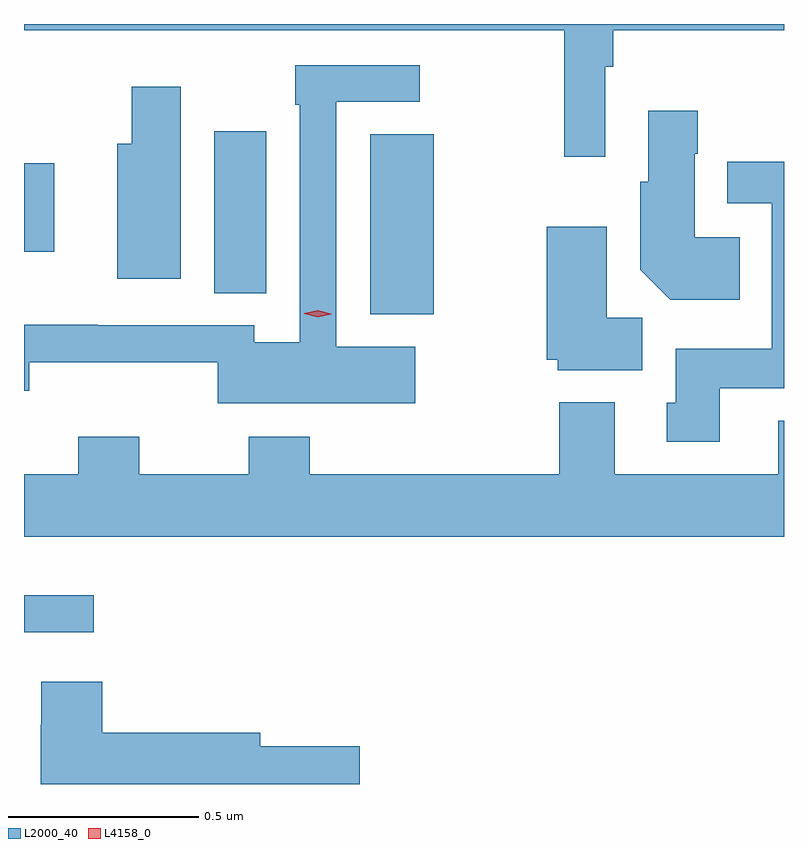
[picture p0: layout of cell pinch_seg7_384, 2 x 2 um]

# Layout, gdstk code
import gdstk
lib = gdstk.Library(unit=1e-6, precision=1e-09)
def R(c, l, rs):  # rectangles x0, y0, x1, y1
    for r in rs: c.add(gdstk.rectangle(r[:2], r[2:], *l))
def P(c, l, *ps):  # polygons
    for p in ps: c.add(gdstk.Polygon(p, *l))
L2000_40 = (2000, 40)
L4158_0 = (4158, 0)

pinch_seg7_384 = lib.new_cell('pinch_seg7_384')
R(pinch_seg7_384, L2000_40, [(397.506,1003.028,397.69,1003.126), (398.417,1003.865,398.584,1004.339), (398.006,1003.921,398.143,1004.347), (397.506,1004.03,397.585,1004.263)])
P(pinch_seg7_384, L2000_40, [(399.036,1004.516),(399.056,1004.516),(399.056,1004.612),(399.506,1004.612),(399.506,1004.629),(397.506,1004.629),(397.506,1004.612),(398.928,1004.612),(398.928,1004.28),(399.036,1004.28)],
  [(398.536,1003.78),(398.328,1003.78),(398.328,1004.424),(398.548,1004.424),(398.548,1004.52),(398.22,1004.52),(398.22,1004.417),(398.232,1004.417),(398.232,1003.792),(398.112,1003.792),(398.112,1003.836),(397.7,1003.836),(397.7,1003.838),(397.506,1003.838),(397.506,1003.664),(397.52,1003.664),(397.52,1003.739),(398.016,1003.739),(398.016,1003.631),(398.536,1003.631)],
  [(397.918,1004.464),(397.789,1004.464),(397.789,1004.314),(397.751,1004.314),(397.751,1003.958),(397.918,1003.958)],
  [(399.389,1004.068),(399.271,1004.068),(399.271,1004.288),(399.279,1004.288),(399.279,1004.401),(399.149,1004.401),(399.149,1004.214),(399.128,1004.214),(399.128,1003.982),(399.206,1003.904),(399.389,1003.904)],
  [(399.337,1003.67),(399.506,1003.67),(399.506,1004.266),(399.357,1004.266),(399.357,1004.157),(399.474,1004.157),(399.474,1003.774),(399.221,1003.774),(399.221,1003.632),(399.197,1003.632),(399.197,1003.53),(399.337,1003.53)],
  [(399.133,1003.856),(399.04,1003.856),(399.04,1004.095),(398.882,1004.095),(398.882,1003.746),(398.91,1003.746),(398.91,1003.718),(399.133,1003.718)],
  [(399.506,1003.585),(399.491,1003.585),(399.491,1003.444),(399.061,1003.444),(399.061,1003.633),(398.914,1003.633),(398.914,1003.444),(398.258,1003.444),(398.258,1003.543),(398.098,1003.543),(398.098,1003.444),(397.809,1003.444),(397.809,1003.543),(397.649,1003.543),(397.649,1003.444),(397.506,1003.444),(397.506,1003.28),(399.506,1003.28)],
  [(398.389,1002.728),(398.128,1002.728),(398.128,1002.764),(397.712,1002.764),(397.712,1002.898),(397.551,1002.898),(397.551,1002.785),(397.55,1002.785),(397.55,1002.629),(398.389,1002.629)])
P(pinch_seg7_384, L4158_0, [(398.279,1003.857),(398.244,1003.867),(398.244,1003.868),(398.244,1003.868),(398.279,1003.876),(398.314,1003.866),(398.314,1003.865),(398.314,1003.865)])

lib.write_gds('pinch_seg7_384.gds')
